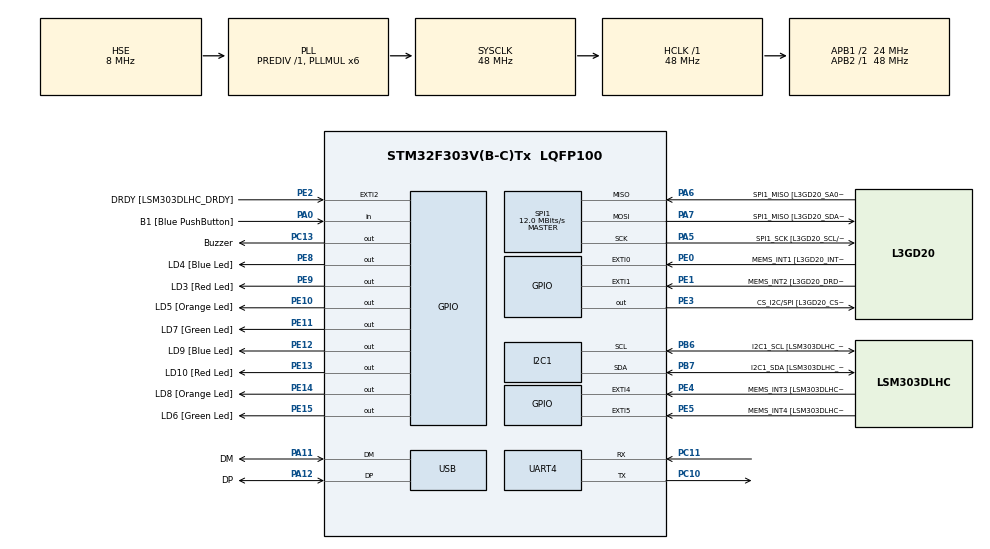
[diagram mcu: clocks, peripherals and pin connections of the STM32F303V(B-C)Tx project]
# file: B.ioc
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I2C1.Timing=0x00201D2B
I2C1.Timing-I2C=0x2000090E
Mcu.Family=STM32F3
Mcu.Name=STM32F303V(B-C)Tx
Mcu.Package=LQFP100
NVIC.PriorityGroup=NVIC_PRIORITYGROUP_0
NVIC.TIM2_IRQn=true\:0\:0\:false\:false\:true\:true\:true\:true
NVIC.UART4_IRQn=true\:0\:0\:false\:false\:true\:true\:true\:true
PA0.GPIO_Label=B1 [Blue PushButton]
PA0.Signal=GPIO_Input
PA11.GPIO_Label=DM
PA11.Mode=Device
PA11.Signal=USB_DM
PA12.GPIO_Label=DP
PA12.Mode=Device
PA12.Signal=USB_DP
PA13.GPIO_Label=SWDIO
PA13.Mode=Serial_Wire
PA13.Signal=SYS_JTMS-SWDIO
PA14.GPIO_Label=SWCLK
PA14.Mode=Serial_Wire
PA14.Signal=SYS_JTCK-SWCLK
PA5.GPIO_Label=SPI1_SCK [L3GD20_SCL/SPC]
PA5.Mode=Full_Duplex_Master
PA5.Signal=SPI1_SCK
PA6.GPIO_Label=SPI1_MISO [L3GD20_SA0/SDO]
PA6.Mode=Full_Duplex_Master
PA6.Signal=SPI1_MISO
PA7.GPIO_Label=SPI1_MISO [L3GD20_SDA/SDI/SDO]
PA7.Mode=Full_Duplex_Master
PA7.Signal=SPI1_MOSI
PB3.GPIO_Label=SWO
PB3.Signal=SYS_JTDO-TRACESWO
PB6.GPIO_Label=I2C1_SCL [LSM303DLHC_SCL]
PB6.GPIO_Pu=GPIO_PULLUP
PB6.Mode=I2C
PB6.Signal=I2C1_SCL
PB7.GPIO_Label=I2C1_SDA [LSM303DLHC_SDA]
PB7.GPIO_Pu=GPIO_PULLUP
PB7.Mode=I2C
PB7.Signal=I2C1_SDA
PC10.Mode=Asynchronous
PC10.Signal=UART4_TX
PC11.Mode=Asynchronous
PC11.Signal=UART4_RX
PC13.GPIO_Label=Buzzer
PC13.Signal=GPIO_Output
PC14-OSC32_IN.GPIO_Label=OSC32_IN
PC14-OSC32_IN.Signal=RCC_OSC32_IN
PC15-OSC32_OUT.GPIO_Label=OSC32_OUT
PC15-OSC32_OUT.Signal=RCC_OSC32_OUT
PE0.GPIO_Label=MEMS_INT1 [L3GD20_INT1]
PE0.GPIO_ModeDefaultEXTI=GPIO_MODE_EVT_RISING
PE0.Signal=GPXTI0
PE1.GPIO_Label=MEMS_INT2 [L3GD20_DRDY/INT2]
PE1.GPIO_ModeDefaultEXTI=GPIO_MODE_EVT_RISING
PE1.Signal=GPXTI1
PE10.GPIO_Label=LD5 [Orange Led]
PE10.Signal=GPIO_Output
PE11.GPIO_Label=LD7 [Green Led]
PE11.Signal=GPIO_Output
PE12.GPIO_Label=LD9 [Blue Led]
PE12.Signal=GPIO_Output
PE13.GPIO_Label=LD10 [Red Led]
PE13.Signal=GPIO_Output
PE14.GPIO_Label=LD8 [Orange Led]
PE14.Signal=GPIO_Output
PE15.GPIO_Label=LD6 [Green Led]
PE15.Signal=GPIO_Output
PE2.GPIO_Label=DRDY [LSM303DLHC_DRDY]
PE2.GPIO_ModeDefaultEXTI=GPIO_MODE_EVT_RISING
PE2.Signal=GPXTI2
PE3.GPIO_Label=CS_I2C/SPI [L3GD20_CS_I2C/SPI]
PE3.Signal=GPIO_Output
PE4.GPIO_Label=MEMS_INT3 [LSM303DLHC_INT1]
PE4.GPIO_ModeDefaultEXTI=GPIO_MODE_EVT_RISING
PE4.Signal=GPXTI4
PE5.GPIO_Label=MEMS_INT4 [LSM303DLHC_INT2]
PE5.GPIO_ModeDefaultEXTI=GPIO_MODE_EVT_RISING
PE5.Signal=GPXTI5
PE8.GPIO_Label=LD4 [Blue Led]
PE8.Signal=GPIO_Output
PE9.GPIO_Label=LD3 [Red Led]
PE9.Signal=GPIO_Output
PF0-OSC_IN.GPIO_Label=OSC_IN
PF0-OSC_IN.Mode=HSE-External-Clock-Source
PF0-OSC_IN.Signal=RCC_OSC_IN
PF1-OSC_OUT.GPIO_Label=OSC_OUT
PF1-OSC_OUT.Signal=RCC_OSC_OUT
ProjectManager.HeapSize=0x200
ProjectManager.StackSize=0x400
ProjectManager.TargetToolchain=STM32CubeIDE
RCC.AHBFreq_Value=48000000
RCC.APB1CLKDivider=RCC_HCLK_DIV2
RCC.APB1Freq_Value=24000000
RCC.APB1TimFreq_Value=48000000
RCC.APB2Freq_Value=48000000
RCC.APB2TimFreq_Value=48000000
RCC.CortexFreq_Value=48000000
RCC.HCLKFreq_Value=48000000
RCC.HSE_VALUE=8000000
RCC.HSI_VALUE=8000000
RCC.LSE_VALUE=32768
RCC.PLLMUL=RCC_PLL_MUL6
RCC.SYSCLKFreq_VALUE=48000000
RCC.SYSCLKSourceVirtual=RCC_SYSCLKSOURCE_PLLCLK
RCC.USBFreq_Value=48000000
SPI1.BaudRatePrescaler=SPI_BAUDRATEPRESCALER_4
SPI1.BaudRatePrescaler-Full_Duplex_Master=SPI_BAUDRATEPRESCALER_2
SPI1.CalculateBaudRate=12.0 MBits/s
SPI1.CalculateBaudRate-Full_Duplex_Master=24.0 MBits/s
SPI1.Direction=SPI_DIRECTION_2LINES
SPI1.Mode=SPI_MODE_MASTER
SPI1.Mode-Full_Duplex_Master=SPI_MODE_MASTER
SPI1.VirtualType=VM_MASTER
TIM2.Period=24999
TIM2.Prescaler=9599
VP_TIM2_VS_ClockSourceINT.Mode=Internal
board=STM32F3DISCOVERY

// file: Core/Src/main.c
/* USER CODE BEGIN Header */
/**
  ******************************************************************************
  * @file           : main.c
  * @brief          : Main program body
  ******************************************************************************
  * @attention
  *
  * Copyright (c) 2025 STMicroelectronics.
  * All rights reserved.
  *
  * This software is licensed under terms that can be found in the LICENSE file
  * in the root directory of this software component.
  * If no LICENSE file comes with this software, it is provided AS-IS.
  *
  ******************************************************************************
  */
/* USER CODE END Header */
#include "main.h"

I2C_HandleTypeDef hi2c1;

SPI_HandleTypeDef hspi1;

TIM_HandleTypeDef htim2;

UART_HandleTypeDef huart4;

PCD_HandleTypeDef hpcd_USB_FS;

/* USER CODE BEGIN PV */
uint32_t recvbuff;
uint32_t messaggio = 0x21;
/* USER CODE END PV */

void SystemClock_Config(void);
static void MX_GPIO_Init(void);
static void MX_I2C1_Init(void);
static void MX_SPI1_Init(void);
static void MX_USB_PCD_Init(void);
static void MX_UART4_Init(void);
static void MX_TIM2_Init(void);
/* USER CODE BEGIN PFP */
void HAL_UART_RxCpltCallback(UART_HandleTypeDef * huart)
{
	if (recvbuff == 0x42)
		{
			HAL_GPIO_TogglePin(GPIOE, GPIO_PIN_9);
			HAL_GPIO_WritePin(GPIOC,Buzzer_Pin, GPIO_PIN_SET);
			HAL_TIM_Base_Start_IT(&htim2);
		}
	else if(recvbuff==0x44)
		{
			HAL_GPIO_TogglePin(GPIOE, GPIO_PIN_11);
			HAL_GPIO_WritePin(GPIOC,Buzzer_Pin, GPIO_PIN_RESET);
			HAL_TIM_Base_Stop_IT(&htim2);
		}
	HAL_UART_Receive_IT(huart, (uint8_t*) &recvbuff, sizeof(uint32_t));

}

void HAL_TIM_PeriodElapsedCallback(TIM_HandleTypeDef *htim)
{
    if (htim->Instance == TIM2)
    {

        HAL_UART_Transmit(&huart4, (uint8_t*)&messaggio, sizeof(uint32_t), HAL_MAX_DELAY);
        HAL_GPIO_TogglePin(GPIOE, GPIO_PIN_15);//LED VERDE
    }
}
/* USER CODE END PFP */

int main(void)
{

  /* MCU Configuration--------------------------------------------------------*/

  /* Reset of all peripherals, Initializes the Flash interface and the Systick. */
  HAL_Init();

  /* Configure the system clock */
  SystemClock_Config();

  /* Initialize all configured peripherals */
  MX_GPIO_Init();
  MX_I2C1_Init();
  MX_SPI1_Init();
  MX_USB_PCD_Init();
  MX_UART4_Init();
  MX_TIM2_Init();
  /* USER CODE BEGIN 2 */
  HAL_UART_Receive_IT(&huart4, (uint8_t*) &recvbuff, sizeof(uint32_t));
  /* USER CODE END 2 */

  /* Infinite loop */
  while (1)
  {

  }
}

void SystemClock_Config(void)
{
  RCC_OscInitTypeDef RCC_OscInitStruct = {0};
  RCC_ClkInitTypeDef RCC_ClkInitStruct = {0};
  RCC_PeriphCLKInitTypeDef PeriphClkInit = {0};

  /** Initializes the RCC Oscillators according to the specified parameters
  * in the RCC_OscInitTypeDef structure.
  */
  RCC_OscInitStruct.OscillatorType = RCC_OSCILLATORTYPE_HSI|RCC_OSCILLATORTYPE_HSE;
  RCC_OscInitStruct.HSEState = RCC_HSE_BYPASS;
  RCC_OscInitStruct.HSEPredivValue = RCC_HSE_PREDIV_DIV1;
  RCC_OscInitStruct.HSIState = RCC_HSI_ON;
  RCC_OscInitStruct.HSICalibrationValue = RCC_HSICALIBRATION_DEFAULT;
  RCC_OscInitStruct.PLL.PLLState = RCC_PLL_ON;
  RCC_OscInitStruct.PLL.PLLSource = RCC_PLLSOURCE_HSE;
  RCC_OscInitStruct.PLL.PLLMUL = RCC_PLL_MUL6;
  if (HAL_RCC_OscConfig(&RCC_OscInitStruct) != HAL_OK)
  {
    Error_Handler();
  }

  /** Initializes the CPU, AHB and APB buses clocks
  */
  RCC_ClkInitStruct.ClockType = RCC_CLOCKTYPE_HCLK|RCC_CLOCKTYPE_SYSCLK
                              |RCC_CLOCKTYPE_PCLK1|RCC_CLOCKTYPE_PCLK2;
  RCC_ClkInitStruct.SYSCLKSource = RCC_SYSCLKSOURCE_PLLCLK;
  RCC_ClkInitStruct.AHBCLKDivider = RCC_SYSCLK_DIV1;
  RCC_ClkInitStruct.APB1CLKDivider = RCC_HCLK_DIV2;
  RCC_ClkInitStruct.APB2CLKDivider = RCC_HCLK_DIV1;

  if (HAL_RCC_ClockConfig(&RCC_ClkInitStruct, FLASH_LATENCY_1) != HAL_OK)
  {
    Error_Handler();
  }
  PeriphClkInit.PeriphClockSelection = RCC_PERIPHCLK_USB|RCC_PERIPHCLK_UART4
                              |RCC_PERIPHCLK_I2C1;
  PeriphClkInit.Uart4ClockSelection = RCC_UART4CLKSOURCE_PCLK1;
  PeriphClkInit.I2c1ClockSelection = RCC_I2C1CLKSOURCE_HSI;
  PeriphClkInit.USBClockSelection = RCC_USBCLKSOURCE_PLL;
  if (HAL_RCCEx_PeriphCLKConfig(&PeriphClkInit) != HAL_OK)
  {
    Error_Handler();
  }
}

static void MX_I2C1_Init(void)
{

  hi2c1.Instance = I2C1;
  hi2c1.Init.Timing = 0x00201D2B;
  hi2c1.Init.OwnAddress1 = 0;
  hi2c1.Init.AddressingMode = I2C_ADDRESSINGMODE_7BIT;
  hi2c1.Init.DualAddressMode = I2C_DUALADDRESS_DISABLE;
  hi2c1.Init.OwnAddress2 = 0;
  hi2c1.Init.OwnAddress2Masks = I2C_OA2_NOMASK;
  hi2c1.Init.GeneralCallMode = I2C_GENERALCALL_DISABLE;
  hi2c1.Init.NoStretchMode = I2C_NOSTRETCH_DISABLE;
  if (HAL_I2C_Init(&hi2c1) != HAL_OK)
  {
    Error_Handler();
  }

  /** Configure Analogue filter
  */
  if (HAL_I2CEx_ConfigAnalogFilter(&hi2c1, I2C_ANALOGFILTER_ENABLE) != HAL_OK)
  {
    Error_Handler();
  }

  /** Configure Digital filter
  */
  if (HAL_I2CEx_ConfigDigitalFilter(&hi2c1, 0) != HAL_OK)
  {
    Error_Handler();
  }

}

static void MX_SPI1_Init(void)
{

  /* SPI1 parameter configuration*/
  hspi1.Instance = SPI1;
  hspi1.Init.Mode = SPI_MODE_MASTER;
  hspi1.Init.Direction = SPI_DIRECTION_2LINES;
  hspi1.Init.DataSize = SPI_DATASIZE_4BIT;
  hspi1.Init.CLKPolarity = SPI_POLARITY_LOW;
  hspi1.Init.CLKPhase = SPI_PHASE_1EDGE;
  hspi1.Init.NSS = SPI_NSS_SOFT;
  hspi1.Init.BaudRatePrescaler = SPI_BAUDRATEPRESCALER_4;
  hspi1.Init.FirstBit = SPI_FIRSTBIT_MSB;
  hspi1.Init.TIMode = SPI_TIMODE_DISABLE;
  hspi1.Init.CRCCalculation = SPI_CRCCALCULATION_DISABLE;
  hspi1.Init.CRCPolynomial = 7;
  hspi1.Init.CRCLength = SPI_CRC_LENGTH_DATASIZE;
  hspi1.Init.NSSPMode = SPI_NSS_PULSE_ENABLE;
  if (HAL_SPI_Init(&hspi1) != HAL_OK)
  {
    Error_Handler();
  }

}

static void MX_TIM2_Init(void)
{

  TIM_ClockConfigTypeDef sClockSourceConfig = {0};
  TIM_MasterConfigTypeDef sMasterConfig = {0};

  htim2.Instance = TIM2;
  htim2.Init.Prescaler = 9599;
  htim2.Init.CounterMode = TIM_COUNTERMODE_UP;
  htim2.Init.Period = 24999;
  htim2.Init.ClockDivision = TIM_CLOCKDIVISION_DIV1;
  htim2.Init.AutoReloadPreload = TIM_AUTORELOAD_PRELOAD_DISABLE;
  if (HAL_TIM_Base_Init(&htim2) != HAL_OK)
  {
    Error_Handler();
  }
  sClockSourceConfig.ClockSource = TIM_CLOCKSOURCE_INTERNAL;
  if (HAL_TIM_ConfigClockSource(&htim2, &sClockSourceConfig) != HAL_OK)
  {
    Error_Handler();
  }
  sMasterConfig.MasterOutputTrigger = TIM_TRGO_RESET;
  sMasterConfig.MasterSlaveMode = TIM_MASTERSLAVEMODE_DISABLE;
  if (HAL_TIMEx_MasterConfigSynchronization(&htim2, &sMasterConfig) != HAL_OK)
  {
    Error_Handler();
  }

}

static void MX_UART4_Init(void)
{

  huart4.Instance = UART4;
  huart4.Init.BaudRate = 115200;
  huart4.Init.WordLength = UART_WORDLENGTH_8B;
  huart4.Init.StopBits = UART_STOPBITS_1;
  huart4.Init.Parity = UART_PARITY_NONE;
  huart4.Init.Mode = UART_MODE_TX_RX;
  huart4.Init.HwFlowCtl = UART_HWCONTROL_NONE;
  huart4.Init.OverSampling = UART_OVERSAMPLING_16;
  huart4.Init.OneBitSampling = UART_ONE_BIT_SAMPLE_DISABLE;
  huart4.AdvancedInit.AdvFeatureInit = UART_ADVFEATURE_NO_INIT;
  if (HAL_UART_Init(&huart4) != HAL_OK)
  {
    Error_Handler();
  }

}

static void MX_USB_PCD_Init(void)
{

  hpcd_USB_FS.Instance = USB;
  hpcd_USB_FS.Init.dev_endpoints = 8;
  hpcd_USB_FS.Init.speed = PCD_SPEED_FULL;
  hpcd_USB_FS.Init.phy_itface = PCD_PHY_EMBEDDED;
  hpcd_USB_FS.Init.low_power_enable = DISABLE;
  hpcd_USB_FS.Init.battery_charging_enable = DISABLE;
  if (HAL_PCD_Init(&hpcd_USB_FS) != HAL_OK)
  {
    Error_Handler();
  }

}

static void MX_GPIO_Init(void)
{
  GPIO_InitTypeDef GPIO_InitStruct = {0};

  /* GPIO Ports Clock Enable */
  __HAL_RCC_GPIOE_CLK_ENABLE();
  __HAL_RCC_GPIOC_CLK_ENABLE();
  __HAL_RCC_GPIOF_CLK_ENABLE();
  __HAL_RCC_GPIOA_CLK_ENABLE();
  __HAL_RCC_GPIOB_CLK_ENABLE();

  /*Configure GPIO pin Output Level */
  HAL_GPIO_WritePin(GPIOE, CS_I2C_SPI_Pin|LD4_Pin|LD3_Pin|LD5_Pin
                          |LD7_Pin|LD9_Pin|LD10_Pin|LD8_Pin
                          |LD6_Pin, GPIO_PIN_RESET);

  /*Configure GPIO pin Output Level */
  HAL_GPIO_WritePin(Buzzer_GPIO_Port, Buzzer_Pin, GPIO_PIN_RESET);

  /*Configure GPIO pins : DRDY_Pin MEMS_INT3_Pin MEMS_INT4_Pin MEMS_INT1_Pin
                           MEMS_INT2_Pin */
  GPIO_InitStruct.Pin = DRDY_Pin|MEMS_INT3_Pin|MEMS_INT4_Pin|MEMS_INT1_Pin
                          |MEMS_INT2_Pin;
  GPIO_InitStruct.Mode = GPIO_MODE_EVT_RISING;
  GPIO_InitStruct.Pull = GPIO_NOPULL;
  HAL_GPIO_Init(GPIOE, &GPIO_InitStruct);

  /*Configure GPIO pins : CS_I2C_SPI_Pin LD4_Pin LD3_Pin LD5_Pin
                           LD7_Pin LD9_Pin LD10_Pin LD8_Pin
                           LD6_Pin */
  GPIO_InitStruct.Pin = CS_I2C_SPI_Pin|LD4_Pin|LD3_Pin|LD5_Pin
                          |LD7_Pin|LD9_Pin|LD10_Pin|LD8_Pin
                          |LD6_Pin;
  GPIO_InitStruct.Mode = GPIO_MODE_OUTPUT_PP;
  GPIO_InitStruct.Pull = GPIO_NOPULL;
  GPIO_InitStruct.Speed = GPIO_SPEED_FREQ_LOW;
  HAL_GPIO_Init(GPIOE, &GPIO_InitStruct);

  /*Configure GPIO pin : Buzzer_Pin */
  GPIO_InitStruct.Pin = Buzzer_Pin;
  GPIO_InitStruct.Mode = GPIO_MODE_OUTPUT_PP;
  GPIO_InitStruct.Pull = GPIO_NOPULL;
  GPIO_InitStruct.Speed = GPIO_SPEED_FREQ_LOW;
  HAL_GPIO_Init(Buzzer_GPIO_Port, &GPIO_InitStruct);

  /*Configure GPIO pin : B1_Pin */
  GPIO_InitStruct.Pin = B1_Pin;
  GPIO_InitStruct.Mode = GPIO_MODE_INPUT;
  GPIO_InitStruct.Pull = GPIO_NOPULL;
  HAL_GPIO_Init(B1_GPIO_Port, &GPIO_InitStruct);

}

void Error_Handler(void)
{
  __disable_irq();
  while (1)
  {
  }
}
